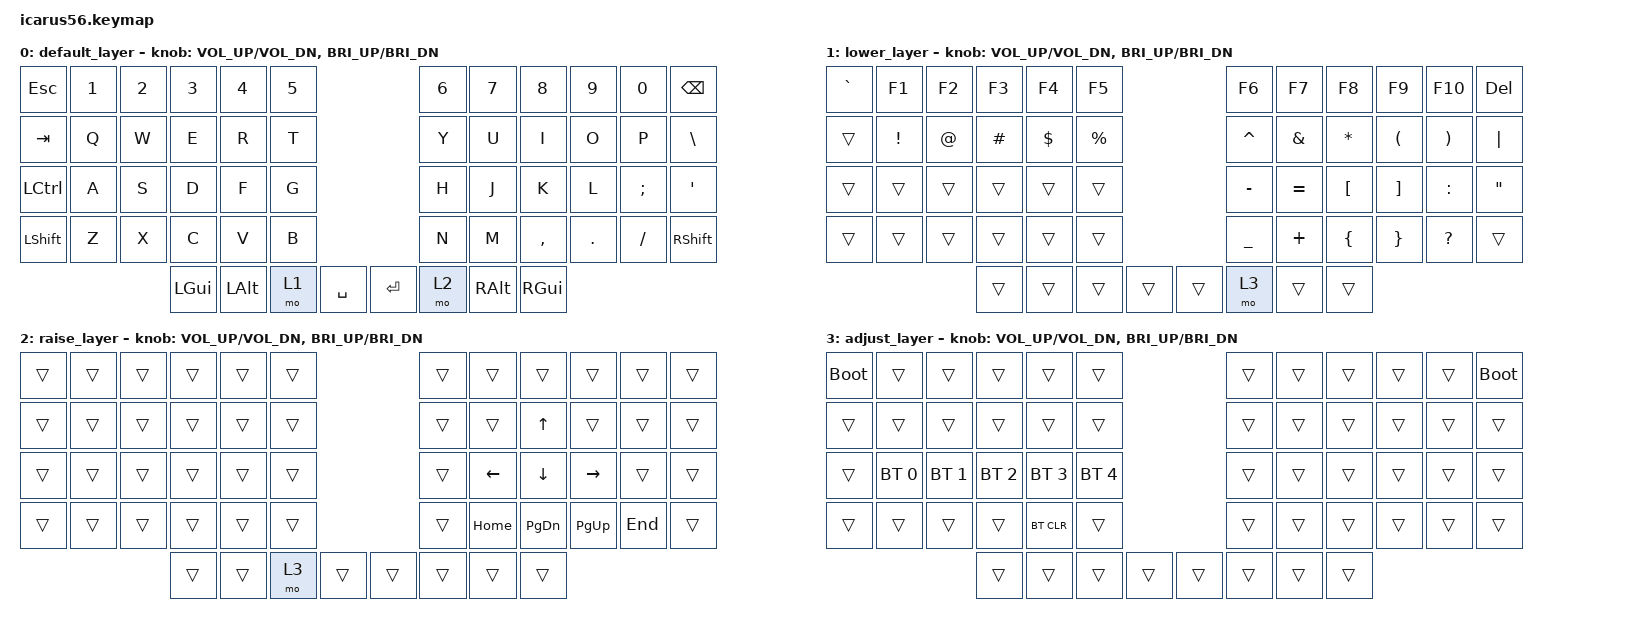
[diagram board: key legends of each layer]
/*
 * Icarus56 ZMK Keymap
 * Lily58-inspired 56-key split keyboard
 * Controller: Seeed XIAO nRF52840 (x2)
 * Encoders: Left = Volume, Right = Brightness
 */

#include <behaviors.dtsi>
#include <dt-bindings/zmk/keys.h>
#include <dt-bindings/zmk/bt.h>
#include <dt-bindings/zmk/keys.h>
#include <dt-bindings/zmk/bt.h>
#include <dt-bindings/zmk/outputs.h>


/ {
    keymap {
        compatible = "zmk,keymap";

        // ╔═══════════════════════════════════════════════════╗
        // ║                 LAYER 0 — DEFAULT                 ║
        // ╚═══════════════════════════════════════════════════╝
        default_layer {
            bindings = <
        //  ┌────────┬────────┬────────┬────────┬────────┬────────┐                        ┌────────┬────────┬────────┬────────┬────────┬────────┐
            &kp ESC   &kp N1   &kp N2   &kp N3   &kp N4   &kp N5                            &kp N6   &kp N7   &kp N8   &kp N9   &kp N0   &kp BSPC
        //  ├────────┼────────┼────────┼────────┼────────┼────────┤                        ├────────┼────────┼────────┼────────┼────────┼────────┤
            &kp TAB   &kp Q    &kp W    &kp E    &kp R    &kp T                             &kp Y    &kp U    &kp I    &kp O    &kp P    &kp BSLH
        //  ├────────┼────────┼────────┼────────┼────────┼────────┤                        ├────────┼────────┼────────┼────────┼────────┼────────┤
            &kp LCTRL &kp A    &kp S    &kp D    &kp F    &kp G                             &kp H    &kp J    &kp K    &kp L    &kp SEMI &kp SQT
        //  ├────────┼────────┼────────┼────────┼────────┼────────┤                        ├────────┼────────┼────────┼────────┼────────┼────────┤
            &kp LSHFT &kp Z    &kp X    &kp C    &kp V    &kp B                             &kp N    &kp M    &kp COMMA &kp DOT &kp FSLH &kp RSHFT
        //  ├────────┼────────┼────────┴────────┴────────┴────────┘                        └────────┴────────┴────────┼────────┼────────┼────────┤
        //  └────────┴────────┴────────┴────────┴────────┴────────┘  └────────┴────────┴────────┴────────┴────────┴────────┘
        //                          ┌────────┬────────┬────────┬────────┐  ┌────────┬────────┬────────┬────────┐
                                     &kp LGUI &kp LALT &mo 1    &kp SPACE  &kp RET  &mo 2    &kp RALT &kp RGUI
        //                          └────────┴────────┴────────┴────────┘  └────────┴────────┴────────┴────────┘
            >;

            sensor-bindings = <
                &inc_dec_kp C_VOL_UP C_VOL_DN   // Left encoder: Volume up/down
                &inc_dec_kp C_BRI_UP C_BRI_DN   // Right encoder: Brightness up/down
            >;
        };

        // ╔═══════════════════════════════════════════════════╗
        // ║                 LAYER 1 — LOWER                   ║
        // ╚═══════════════════════════════════════════════════╝
        lower_layer {
            bindings = <
        //  ┌────────┬────────┬────────┬────────┬────────┬────────┐                        ┌────────┬────────┬────────┬────────┬────────┬────────┐
            &kp GRAVE &kp F1   &kp F2   &kp F3   &kp F4   &kp F5                            &kp F6   &kp F7   &kp F8   &kp F9   &kp F10  &kp DEL
        //  ├────────┼────────┼────────┼────────┼────────┼────────┤                        ├────────┼────────┼────────┼────────┼────────┼────────┤
            &trans    &kp EXCL &kp AT   &kp HASH &kp DLLR &kp PRCNT                         &kp CARET &kp AMPS &kp STAR &kp LPAR &kp RPAR &kp PIPE
        //  ├────────┼────────┼────────┼────────┼────────┼────────┤                        ├────────┼────────┼────────┼────────┼────────┼────────┤
            &trans    &trans   &trans   &trans   &trans   &trans                            &kp MINUS &kp EQUAL &kp LBKT &kp RBKT &kp COLON &kp DQT
        //  ├────────┼────────┼────────┼────────┼────────┼────────┼────────┐  ┌────────┼────────┼────────┼────────┼────────┼────────┼────────┤
            &trans    &trans   &trans   &trans   &trans   &trans              &kp UNDER &kp PLUS &kp LBRC &kp RBRC &kp QMARK &trans
        //  └────────┴────────┴────────┼────────┼────────┼────────┼────────┘  └────────┼────────┼────────┼────────┼────────┴────────┴────────┘
                                        &trans   &trans   &trans   &trans     &trans   &mo 3    &trans   &trans
        //                             └────────┴────────┴────────┴────────┘  └────────┴────────┴────────┴────────┘
            >;

            sensor-bindings = <
                &inc_dec_kp C_VOL_UP C_VOL_DN
                &inc_dec_kp C_BRI_UP C_BRI_DN
            >;
        };

        // ╔═══════════════════════════════════════════════════╗
        // ║                 LAYER 2 — RAISE                   ║
        // ╚═══════════════════════════════════════════════════╝
        raise_layer {
            bindings = <
        //  ┌────────┬────────┬────────┬────────┬────────┬────────┐                        ┌────────┬────────┬────────┬────────┬────────┬────────┐
            &trans    &trans   &trans   &trans   &trans   &trans                            &trans   &trans   &trans   &trans   &trans   &trans
        //  ├────────┼────────┼────────┼────────┼────────┼────────┤                        ├────────┼────────┼────────┼────────┼────────┼────────┤
            &trans    &trans   &trans   &trans   &trans   &trans                            &trans   &trans   &kp UP   &trans   &trans   &trans
        //  ├────────┼────────┼────────┼────────┼────────┼────────┤                        ├────────┼────────┼────────┼────────┼────────┼────────┤
            &trans    &trans   &trans   &trans   &trans   &trans                            &trans   &kp LEFT &kp DOWN &kp RIGHT &trans  &trans
        //  ├────────┼────────┼────────┼────────┼────────┼────────┼────────┐  ┌────────┼────────┼────────┼────────┼────────┼────────┼────────┤
            &trans    &trans   &trans   &trans   &trans   &trans              &trans   &kp HOME &kp PG_DN &kp PG_UP &kp END &trans
        //  └────────┴────────┴────────┼────────┼────────┼────────┼────────┘  └────────┼────────┼────────┼────────┼────────┴────────┴────────┘
                                        &trans   &trans   &mo 3    &trans     &trans   &trans   &trans   &trans
        //                             └────────┴────────┴────────┴────────┘  └────────┴────────┴────────┴────────┘
            >;

            sensor-bindings = <
                &inc_dec_kp C_VOL_UP C_VOL_DN
                &inc_dec_kp C_BRI_UP C_BRI_DN
            >;
        };

        // ╔═══════════════════════════════════════════════════╗
        // ║              LAYER 3 — ADJUST (Lower+Raise)       ║
        // ╚═══════════════════════════════════════════════════╝
        adjust_layer {
            bindings = <
        //  ┌────────┬────────┬────────┬────────┬────────┬────────┐                        ┌────────┬────────┬────────┬────────┬────────┬────────┐
            &bootloader &trans &trans   &trans   &trans   &trans                            &trans   &trans   &trans   &trans   &trans   &bootloader
        //  ├────────┼────────┼────────┼────────┼────────┼────────┤                        ├────────┼────────┼────────┼────────┼────────┼────────┤
            &trans    &trans   &trans   &trans   &trans   &trans                            &trans   &trans   &trans   &trans   &trans   &trans
        //  ├────────┼────────┼────────┼────────┼────────┼────────┤                        ├────────┼────────┼────────┼────────┼────────┼────────┤
            &trans  &bt BT_SEL 0 &bt BT_SEL 1 &bt BT_SEL 2 &bt BT_SEL 3 &bt BT_SEL 4     &trans   &trans   &trans   &trans   &trans   &trans
        //  ├────────┼────────┼────────┼────────┼────────┼────────┼────────┐  ┌────────┼────────┼────────┼────────┼────────┼────────┼────────┤
            &trans    &trans   &trans   &trans   &bt BT_CLR &trans             &trans   &trans   &trans   &trans   &trans   &trans
        //  └────────┴────────┴────────┼────────┼────────┼────────┼────────┘  └────────┼────────┼────────┼────────┼────────┴────────┴────────┘
                                        &trans   &trans   &trans   &trans     &trans   &trans   &trans   &trans
        //                             └────────┴────────┴────────┴────────┘  └────────┴────────┴────────┴────────┘
            >;

            sensor-bindings = <
                &inc_dec_kp C_VOL_UP C_VOL_DN
                &inc_dec_kp C_BRI_UP C_BRI_DN
            >;
        };
    };
};
